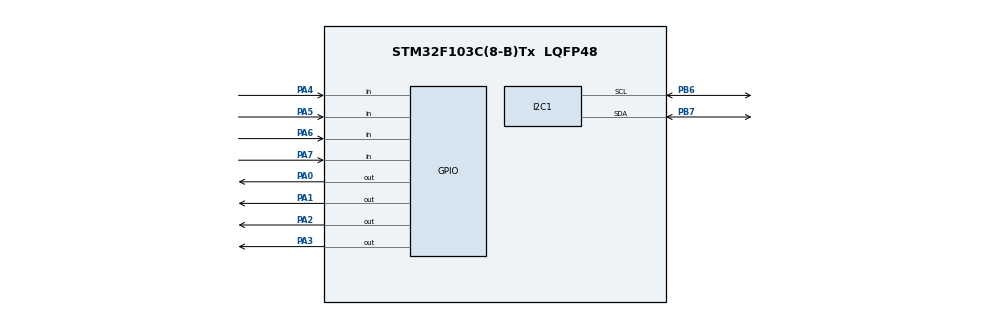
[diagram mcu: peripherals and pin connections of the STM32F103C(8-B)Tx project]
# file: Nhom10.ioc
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Mcu.Family=STM32F1
Mcu.Name=STM32F103C(8-B)Tx
Mcu.Package=LQFP48
NVIC.PriorityGroup=NVIC_PRIORITYGROUP_4
PA0-WKUP.Signal=GPIO_Output
PA1.Signal=GPIO_Output
PA13.Mode=Serial_Wire
PA13.Signal=SYS_JTMS-SWDIO
PA14.Mode=Serial_Wire
PA14.Signal=SYS_JTCK-SWCLK
PA2.Signal=GPIO_Output
PA3.Signal=GPIO_Output
PA4.GPIO_Mode=GPIO_MODE_INPUT
PA4.GPIO_PuPd=GPIO_PULLUP
PA4.Signal=GPIO_Input
PA5.GPIO_Mode=GPIO_MODE_INPUT
PA5.GPIO_PuPd=GPIO_PULLUP
PA5.Signal=GPIO_Input
PA6.GPIO_Mode=GPIO_MODE_INPUT
PA6.GPIO_PuPd=GPIO_PULLUP
PA6.Signal=GPIO_Input
PA7.GPIO_Mode=GPIO_MODE_INPUT
PA7.GPIO_PuPd=GPIO_PULLUP
PA7.Signal=GPIO_Input
PB6.Mode=I2C
PB6.Signal=I2C1_SCL
PB7.Mode=I2C
PB7.Signal=I2C1_SDA
PD0-OSC_IN.Mode=HSE-External-Oscillator
PD0-OSC_IN.Signal=RCC_OSC_IN
PD1-OSC_OUT.Mode=HSE-External-Oscillator
PD1-OSC_OUT.Signal=RCC_OSC_OUT
ProjectManager.HeapSize=0x200
ProjectManager.StackSize=0x400
ProjectManager.TargetToolchain=MDK-ARM V5.32
RCC.APB1Freq_Value=8000000
RCC.APB2Freq_Value=8000000
RCC.SYSCLKSource=RCC_SYSCLKSOURCE_HSE
board=custom

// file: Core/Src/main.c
/* USER CODE BEGIN Header */
/**
  ******************************************************************************
  * @file           : main.c
  * @brief          : Main program body
  ******************************************************************************
  * @attention
  *
  * Copyright (c) 2023 STMicroelectronics.
  * All rights reserved.
  *
  * This software is licensed under terms that can be found in the LICENSE file
  * in the root directory of this software component.
  * If no LICENSE file comes with this software, it is provided AS-IS.
  *
  ******************************************************************************
  */
/* USER CODE END Header */
#include "main.h"

/* USER CODE BEGIN Includes */
#include "stdio.h"
#include "i2c-lcd.h"
/* USER CODE END Includes */

I2C_HandleTypeDef hi2c1;

void SystemClock_Config(void);
static void MX_GPIO_Init(void);
static void MX_I2C1_Init(void);

/* USER CODE BEGIN 0 */

//===============KEYPAD===================//
#define KEYPAD_ROW 4
#define KEYPAD_COL 4

uint8_t key_current; //key hien tai
uint8_t key_last;			// key cuoi cung
uint8_t key_debounce;	//key trong trang thai chua xac lap (trong nhieu)
uint8_t deboucing = 0;	//
uint32_t t_debounce;

const uint8_t key_code[KEYPAD_ROW][KEYPAD_COL] =
{
	{'1', '2', '3', 'A' },
	{'4', '5', '6', 'B' },
	{'7', '8', '9', 'C' },
	{'*', '0', '#', 'D' }
};

GPIO_TypeDef *Keypad_RowPort[KEYPAD_ROW] = {GPIOA, GPIOA, GPIOA, GPIOA};
uint16_t Keypad_RowPin[KEYPAD_ROW] = {GPIO_PIN_0, GPIO_PIN_1, GPIO_PIN_2, GPIO_PIN_3};

GPIO_TypeDef *Keypad_ColPort[KEYPAD_COL] = {GPIOA, GPIOA, GPIOA, GPIOA};
uint16_t Keypad_ColPin[KEYPAD_COL] = {GPIO_PIN_4, GPIO_PIN_5, GPIO_PIN_6, GPIO_PIN_7};

void KeyPad_Select_Row(uint8_t row)	//dua tung hang ve 0
{
	HAL_GPIO_WritePin(Keypad_RowPort[row], Keypad_RowPin[row], GPIO_PIN_RESET);
}

void KeyPad_UnSelect_Row()	// cho cac hang ve 1
{
	for(uint8_t row = 0; row < KEYPAD_ROW; row++)
	{
		HAL_GPIO_WritePin(Keypad_RowPort[row], Keypad_RowPin[row], GPIO_PIN_SET);
	}
}

uint8_t KeyPad_GetKey()	//doc key
{
	for(uint8_t row = 0; row < KEYPAD_ROW; row++)
	{
		KeyPad_UnSelect_Row();
		KeyPad_Select_Row(row);
		for(uint8_t col = 0; col < KEYPAD_COL; col++)
		{
			if(HAL_GPIO_ReadPin(Keypad_ColPort[col], Keypad_ColPin[col]) == 0)
			{
				return key_code[row][col];
			}
		}
	}
	return 0;
}

void KeyPad_Filter()
{
	uint8_t key = KeyPad_GetKey();

	if(key != key_debounce)	// khi dang nhieu
	{
		deboucing = 1;
		t_debounce = HAL_GetTick();
		key_debounce = key;
	}

	if(deboucing && (HAL_GetTick() - t_debounce >= 15))
	{
		key_current = key_debounce;
		deboucing = 0;
	}
}

void Key_Pressed()
{
	lcd_goto_XY(0, 6);
	if(key_current == 0x31)
	{
		lcd_send_string("1");
	}

	else if(key_current == 0x32)
	{
		lcd_send_string("2");
	}

	else if(key_current == 0x33)
	{
		lcd_send_string("3");
	}

	else if(key_current == 0x34)
	{
		lcd_send_string("4");
	}
	else if(key_current == 0x35)
	{
		lcd_send_string("5");
	}

	else if(key_current == 0x36)
	{
		lcd_send_string("6");
	}

	else if(key_current == 0x37)
	{
		lcd_send_string("7");
	}
	else if(key_current == 0x38)
	{
		lcd_send_string("8");
	}

	else if(key_current == 0x39)
	{
		lcd_send_string("9");
	}

	else if(key_current == 0x41)
	{
		lcd_send_string("A");
	}
	else if(key_current == 0x42)
	{
		lcd_send_string("B");
	}

	else if(key_current == 0x43)
	{
		lcd_send_string("C");
	}

	else if(key_current == 0x44)
	{
		lcd_send_string("D");
	}
	else if(key_current == 0x2A)
	{
		lcd_send_string("*");
	}

	else if(key_current == 0x30)
	{
		lcd_send_string("0");
	}

	else if(key_current == 0x23)
	{
		lcd_send_string("#");
	}
}
/* USER CODE END 0 */

int main(void)
{

  /* MCU Configuration--------------------------------------------------------*/

  /* Reset of all peripherals, Initializes the Flash interface and the Systick. */
  HAL_Init();

  /* Configure the system clock */
  SystemClock_Config();

  /* Initialize all configured peripherals */
  MX_GPIO_Init();
  MX_I2C1_Init();
  /* USER CODE BEGIN 2 */
	lcd_init();
	//lcd_clear_display();
	lcd_goto_XY(1, 0);
	lcd_send_string("NHOM 10");
	HAL_Delay(100);

  /* USER CODE END 2 */

  /* Infinite loop */
  while (1)
  {

    /* USER CODE BEGIN 3 */
		KeyPad_Filter();
		lcd_goto_XY(0, 0);
		lcd_send_string("Key: ");
		Key_Pressed();

  }
  /* USER CODE END 3 */
}

void SystemClock_Config(void)
{
  RCC_OscInitTypeDef RCC_OscInitStruct = {0};
  RCC_ClkInitTypeDef RCC_ClkInitStruct = {0};

  /** Initializes the RCC Oscillators according to the specified parameters
  * in the RCC_OscInitTypeDef structure.
  */
  RCC_OscInitStruct.OscillatorType = RCC_OSCILLATORTYPE_HSE;
  RCC_OscInitStruct.HSEState = RCC_HSE_ON;
  RCC_OscInitStruct.PLL.PLLState = RCC_PLL_NONE;
  if (HAL_RCC_OscConfig(&RCC_OscInitStruct) != HAL_OK)
  {
    Error_Handler();
  }

  /** Initializes the CPU, AHB and APB buses clocks
  */
  RCC_ClkInitStruct.ClockType = RCC_CLOCKTYPE_HCLK|RCC_CLOCKTYPE_SYSCLK
                              |RCC_CLOCKTYPE_PCLK1|RCC_CLOCKTYPE_PCLK2;
  RCC_ClkInitStruct.SYSCLKSource = RCC_SYSCLKSOURCE_HSE;
  RCC_ClkInitStruct.AHBCLKDivider = RCC_SYSCLK_DIV1;
  RCC_ClkInitStruct.APB1CLKDivider = RCC_HCLK_DIV1;
  RCC_ClkInitStruct.APB2CLKDivider = RCC_HCLK_DIV1;

  if (HAL_RCC_ClockConfig(&RCC_ClkInitStruct, FLASH_LATENCY_0) != HAL_OK)
  {
    Error_Handler();
  }
}

static void MX_I2C1_Init(void)
{

  hi2c1.Instance = I2C1;
  hi2c1.Init.ClockSpeed = 100000;
  hi2c1.Init.DutyCycle = I2C_DUTYCYCLE_2;
  hi2c1.Init.OwnAddress1 = 0;
  hi2c1.Init.AddressingMode = I2C_ADDRESSINGMODE_7BIT;
  hi2c1.Init.DualAddressMode = I2C_DUALADDRESS_DISABLE;
  hi2c1.Init.OwnAddress2 = 0;
  hi2c1.Init.GeneralCallMode = I2C_GENERALCALL_DISABLE;
  hi2c1.Init.NoStretchMode = I2C_NOSTRETCH_DISABLE;
  if (HAL_I2C_Init(&hi2c1) != HAL_OK)
  {
    Error_Handler();
  }

}

static void MX_GPIO_Init(void)
{
  GPIO_InitTypeDef GPIO_InitStruct = {0};

  /* GPIO Ports Clock Enable */
  __HAL_RCC_GPIOC_CLK_ENABLE();
  __HAL_RCC_GPIOD_CLK_ENABLE();
  __HAL_RCC_GPIOA_CLK_ENABLE();
  __HAL_RCC_GPIOB_CLK_ENABLE();

  /*Configure GPIO pin Output Level */
  HAL_GPIO_WritePin(GPIOA, GPIO_PIN_0|GPIO_PIN_1|GPIO_PIN_2|GPIO_PIN_3, GPIO_PIN_RESET);

  /*Configure GPIO pins : PC13 PC14 PC15 */
  GPIO_InitStruct.Pin = GPIO_PIN_13|GPIO_PIN_14|GPIO_PIN_15;
  GPIO_InitStruct.Mode = GPIO_MODE_ANALOG;
  HAL_GPIO_Init(GPIOC, &GPIO_InitStruct);

  /*Configure GPIO pins : PA0 PA1 PA2 PA3 */
  GPIO_InitStruct.Pin = GPIO_PIN_0|GPIO_PIN_1|GPIO_PIN_2|GPIO_PIN_3;
  GPIO_InitStruct.Mode = GPIO_MODE_OUTPUT_PP;
  GPIO_InitStruct.Pull = GPIO_NOPULL;
  GPIO_InitStruct.Speed = GPIO_SPEED_FREQ_LOW;
  HAL_GPIO_Init(GPIOA, &GPIO_InitStruct);

  /*Configure GPIO pins : PA4 PA5 PA6 PA7 */
  GPIO_InitStruct.Pin = GPIO_PIN_4|GPIO_PIN_5|GPIO_PIN_6|GPIO_PIN_7;
  GPIO_InitStruct.Mode = GPIO_MODE_INPUT;
  GPIO_InitStruct.Pull = GPIO_PULLUP;
  HAL_GPIO_Init(GPIOA, &GPIO_InitStruct);

  /*Configure GPIO pins : PB0 PB1 PB2 PB10
                           PB11 PB12 PB13 PB14
                           PB15 PB3 PB4 PB5
                           PB8 PB9 */
  GPIO_InitStruct.Pin = GPIO_PIN_0|GPIO_PIN_1|GPIO_PIN_2|GPIO_PIN_10
                          |GPIO_PIN_11|GPIO_PIN_12|GPIO_PIN_13|GPIO_PIN_14
                          |GPIO_PIN_15|GPIO_PIN_3|GPIO_PIN_4|GPIO_PIN_5
                          |GPIO_PIN_8|GPIO_PIN_9;
  GPIO_InitStruct.Mode = GPIO_MODE_ANALOG;
  HAL_GPIO_Init(GPIOB, &GPIO_InitStruct);

  /*Configure GPIO pins : PA8 PA9 PA10 PA11
                           PA12 PA15 */
  GPIO_InitStruct.Pin = GPIO_PIN_8|GPIO_PIN_9|GPIO_PIN_10|GPIO_PIN_11
                          |GPIO_PIN_12|GPIO_PIN_15;
  GPIO_InitStruct.Mode = GPIO_MODE_ANALOG;
  HAL_GPIO_Init(GPIOA, &GPIO_InitStruct);

}

void Error_Handler(void)
{
  __disable_irq();
  while (1)
  {
  }
}
